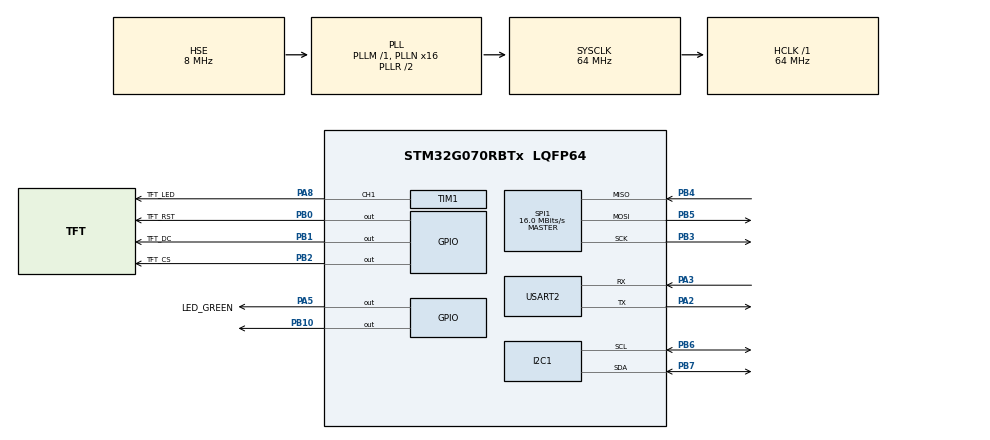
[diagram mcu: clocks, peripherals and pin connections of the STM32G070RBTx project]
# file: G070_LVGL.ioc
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Mcu.Family=STM32G0
PA2.GPIO_PuPd=GPIO_PULLUP
PB10.PinState=GPIO_PIN_SET
VP_SYS_VS_tim6.Mode=TIM6
RCC.CortexFreq_Value=64000000
SPI1.VirtualType=VM_MASTER
PA3.GPIO_PuPd=GPIO_PULLUP
PA14-BOOT0.Mode=Serial_Wire
VP_RTC_VS_RTC_Activate.Mode=RTC_Enabled
PB0.GPIO_Label=TFT_RST
PC15-OSC32_OUT\ (PC15).Mode=LSE-External-Oscillator
PF0-OSC_IN\ (PF0).GPIO_Label=MCO
PA5.PinState=GPIO_PIN_SET
PF0-OSC_IN\ (PF0).Signal=RCC_OSC_IN
RCC.SYSCLKSource=RCC_SYSCLKSOURCE_PLLCLK
ProjectManager.StackSize=0x400
PC14-OSC32_IN\ (PC14).Mode=LSE-External-Oscillator
PB0.PinState=GPIO_PIN_SET
SPI1.Direction=SPI_DIRECTION_2LINES
RCC.HCLKFreq_Value=64000000
PB6.Signal=I2C1_SCL
PB6.Mode=I2C
SPI1.CalculateBaudRate=16.0 MBits/s
RCC.AHBFreq_Value=64000000
PA14-BOOT0.Signal=SYS_SWCLK
RCC.HSE_VALUE=8000000
PB2.Signal=GPIO_Output
PB3.Mode=Full_Duplex_Master
USART2.VirtualMode-Asynchronous=VM_ASYNC
PB4.Mode=Full_Duplex_Master
TIM1.Channel-PWM\ Generation1\ CH1=TIM_CHANNEL_1
PB1.GPIO_Label=TFT_DC
PB5.Mode=Full_Duplex_Master
SPI1.DataSize=SPI_DATASIZE_8BIT
VP_SYS_VS_DBSignals.Mode=DisableDeadBatterySignals
PB7.Signal=I2C1_SDA
PA8.Signal=S_TIM1_CH1
VP_TIM1_VS_ClockSourceINT.Mode=Internal
PB1.PinState=GPIO_PIN_SET
Mcu.Package=LQFP64
PB1.Signal=GPIO_Output
NVIC.TimeBase=TIM6_IRQn
NVIC.TimeBaseIP=TIM6
VP_RTC_VS_RTC_Calendar.Mode=RTC_Calendar
USART2.WordLength=WORDLENGTH_7B
SPI1.BaudRatePrescaler=SPI_BAUDRATEPRESCALER_4
PB4.Signal=SPI1_MISO
PA3.Signal=USART2_RX
RCC.PLLSourceVirtual=RCC_PLLSOURCE_HSE
PA14-BOOT0.GPIO_Label=TCK
PC13.Signal=SYS_WKUP2
RCC.EXTERNAL_CLOCK_VALUE=12288000
PC15-OSC32_OUT\ (PC15).Signal=RCC_OSC32_OUT
NVIC.TIM6_IRQn=true\:0\:0\:false\:false\:true\:false\:true
PF0-OSC_IN\ (PF0).Mode=HSE-External-Clock-Source
PA13.Signal=SYS_SWDIO
PA3.Mode=Asynchronous
PA8.GPIO_Label=TFT_LED
SH.S_TIM1_CH1.0=TIM1_CH1,PWM Generation1 CH1
ProjectManager.TargetToolchain=STM32CubeIDE
I2C1.Timing=0x10707DBC
PB10.Signal=GPIO_Output
PA5.Signal=GPIO_Output
board=NUCLEO-G070RB
RCC.VCOOutputFreq_Value=128000000
SPI1.Mode=SPI_MODE_MASTER
RCC.ADCFreq_Value=64000000
PC13.Mode=SYS_WakeUp1
PA13.Mode=Serial_Wire
Mcu.Name=STM32G070RBTx
PB2.PinState=GPIO_PIN_SET
PA13.GPIO_Label=TMS
PA2.Signal=USART2_TX
PB3.Signal=SPI1_SCK
RCC.SYSCLKFreq_VALUE=64000000
PB5.Signal=SPI1_MOSI
PA5.GPIO_Label=LED_GREEN
PC14-OSC32_IN\ (PC14).Signal=RCC_OSC32_IN
PB7.Mode=I2C
PB2.GPIO_Label=TFT_CS
ProjectManager.HeapSize=0x200
RCC.HSI_VALUE=16000000
PA5.GPIO_Speed=GPIO_SPEED_FREQ_HIGH
RCC.PLLN=16
PA2.Mode=Asynchronous
PB0.Signal=GPIO_Output

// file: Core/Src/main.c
/* USER CODE BEGIN Header */
/**
  ******************************************************************************
  * @file           : main.c
  * @brief          : Main program body
  ******************************************************************************
  * @attention
  *
  * <h2><center>&copy; Copyright (c) 2021 STMicroelectronics.
  * All rights reserved.</center></h2>
  *
  * This software component is licensed by ST under BSD 3-Clause license,
  * the "License"; You may not use this file except in compliance with the
  * License. You may obtain a copy of the License at:
  *                        opensource.org/licenses/BSD-3-Clause
  *
  ******************************************************************************
  */
/* USER CODE END Header */
#include "main.h"
#include "i2c.h"
#include "rtc.h"
#include "spi.h"
#include "tim.h"
#include "usart.h"
#include "gpio.h"

/* USER CODE BEGIN Includes */
#include "ST7735.h"
#include "lvgl.h"
/* USER CODE END Includes */

/* USER CODE BEGIN PTD */
static lv_disp_buf_t disp_buf;
static lv_color_t buf[LV_HOR_RES_MAX * 10];                     /*Declare a buffer for 10 lines*/
uint8_t buf_tft[LV_HOR_RES_MAX*LV_VER_RES_MAX] = {0};
//static lv_color_t buf[LV_HOR_RES_MAX * 10] __attribute__((section(".tftram"))); /* TFT Buffers */
/* USER CODE END PTD */

/* USER CODE BEGIN PM */
void lv_ex_label_1(void);
/* USER CODE END PM */

void SystemClock_Config(void);

int main(void)
{

  /* MCU Configuration--------------------------------------------------------*/

  /* Reset of all peripherals, Initializes the Flash interface and the Systick. */
  HAL_Init();

  /* Configure the system clock */
  SystemClock_Config();

  /* Initialize all configured peripherals */
  MX_GPIO_Init();
  MX_USART2_UART_Init();
  MX_I2C1_Init();
  MX_RTC_Init();
  MX_SPI1_Init();
  MX_TIM1_Init();
  /* USER CODE BEGIN 2 */

  HAL_TIM_PWM_Start(&htim1, TIM_CHANNEL_1);
   __HAL_TIM_SetCompare(&htim1, TIM_CHANNEL_1, 2048);	// PWM_CH1 = 2048 PWM_BRILHO_TFT
   //
   ST7735_Init();
   ST7735_AddrSet(0, 0, LV_HOR_RES_MAX-1, LV_VER_RES_MAX-1);
   ST7735_Clear(0x0000);
   ST7735_Orientation(scr_CCW);
   ST7735_PutStr5x7(40, 10, "Hello world!", RGB565(255,255,255));
   //
   lv_disp_buf_init(&disp_buf, buf, NULL, LV_HOR_RES_MAX * 10);    //Initialize the display buffer
   lv_init();

   lv_disp_drv_t disp_drv;               //Descriptor of a display driver
   lv_disp_drv_init(&disp_drv);          //Basic initialization
   disp_drv.hor_res = LV_HOR_RES_MAX;	//Set the horizontal resolution
   disp_drv.ver_res = LV_VER_RES_MAX;	//Set the vertical resolution
   disp_drv.flush_cb = ST7735_Flush;	//Set your driver function
   disp_drv.buffer = &disp_buf;          //Assign the buffer to teh display
   lv_disp_drv_register(&disp_drv);      //Finally register the driver

   lv_ex_label_1();
   /* USER CODE END 2 */

  /* Infinite loop */
  while (1)
  {

    /* USER CODE BEGIN 3 */
	  // Eventos da GUI LittleVGL
	  lv_task_handler();
  }
  /* USER CODE END 3 */
}

void SystemClock_Config(void)
{
  RCC_OscInitTypeDef RCC_OscInitStruct = {0};
  RCC_ClkInitTypeDef RCC_ClkInitStruct = {0};
  RCC_PeriphCLKInitTypeDef PeriphClkInit = {0};

  /** Configure the main internal regulator output voltage
  */
  HAL_PWREx_ControlVoltageScaling(PWR_REGULATOR_VOLTAGE_SCALE1);
  /** Initializes the RCC Oscillators according to the specified parameters
  * in the RCC_OscInitTypeDef structure.
  */
  RCC_OscInitStruct.OscillatorType = RCC_OSCILLATORTYPE_LSI|RCC_OSCILLATORTYPE_HSE;
  RCC_OscInitStruct.HSEState = RCC_HSE_BYPASS;
  RCC_OscInitStruct.LSIState = RCC_LSI_ON;
  RCC_OscInitStruct.PLL.PLLState = RCC_PLL_ON;
  RCC_OscInitStruct.PLL.PLLSource = RCC_PLLSOURCE_HSE;
  RCC_OscInitStruct.PLL.PLLM = RCC_PLLM_DIV1;
  RCC_OscInitStruct.PLL.PLLN = 16;
  RCC_OscInitStruct.PLL.PLLP = RCC_PLLP_DIV2;
  RCC_OscInitStruct.PLL.PLLR = RCC_PLLR_DIV2;
  if (HAL_RCC_OscConfig(&RCC_OscInitStruct) != HAL_OK)
  {
    Error_Handler();
  }
  /** Initializes the CPU, AHB and APB buses clocks
  */
  RCC_ClkInitStruct.ClockType = RCC_CLOCKTYPE_HCLK|RCC_CLOCKTYPE_SYSCLK
                              |RCC_CLOCKTYPE_PCLK1;
  RCC_ClkInitStruct.SYSCLKSource = RCC_SYSCLKSOURCE_PLLCLK;
  RCC_ClkInitStruct.AHBCLKDivider = RCC_SYSCLK_DIV1;
  RCC_ClkInitStruct.APB1CLKDivider = RCC_HCLK_DIV1;

  if (HAL_RCC_ClockConfig(&RCC_ClkInitStruct, FLASH_LATENCY_2) != HAL_OK)
  {
    Error_Handler();
  }
  /** Initializes the peripherals clocks
  */
  PeriphClkInit.PeriphClockSelection = RCC_PERIPHCLK_RTC|RCC_PERIPHCLK_USART2
                              |RCC_PERIPHCLK_I2C1;
  PeriphClkInit.Usart2ClockSelection = RCC_USART2CLKSOURCE_PCLK1;
  PeriphClkInit.I2c1ClockSelection = RCC_I2C1CLKSOURCE_PCLK1;
  PeriphClkInit.RTCClockSelection = RCC_RTCCLKSOURCE_LSI;

  if (HAL_RCCEx_PeriphCLKConfig(&PeriphClkInit) != HAL_OK)
  {
    Error_Handler();
  }
}

/* USER CODE BEGIN 4 */
void lv_ex_label_1(void)
{
    lv_obj_t * label1 = lv_label_create(lv_scr_act(), NULL);
    lv_label_set_long_mode(label1, LV_LABEL_LONG_BREAK);     /*Break the long lines*/
    lv_label_set_recolor(label1, true);                      /*Enable re-coloring by commands in the text*/
    lv_label_set_align(label1, LV_LABEL_ALIGN_CENTER);       /*Center aligned lines*/
    lv_label_set_text(label1, "#0000ff Re-color# #ff00ff words# #ff0000 of a# label "
                              "and  wrap long text automatically.");
    lv_obj_set_width(label1, 150);
    lv_obj_align(label1, NULL, LV_ALIGN_CENTER, 0, -30);

    lv_obj_t * label2 = lv_label_create(lv_scr_act(), NULL);
    lv_label_set_long_mode(label2, LV_LABEL_LONG_SROLL_CIRC);     /*Circular scroll*/
    lv_obj_set_width(label2, 150);
    lv_label_set_text(label2, "It is a circularly scrolling text. ");
    lv_obj_align(label2, NULL, LV_ALIGN_CENTER, 0, 30);
}
/* USER CODE END 4 */

 /**
  * @brief  Period elapsed callback in non blocking mode
  * @note   This function is called  when TIM6 interrupt took place, inside
  * HAL_TIM_IRQHandler(). It makes a direct call to HAL_IncTick() to increment
  * a global variable "uwTick" used as application time base.
  * @param  htim : TIM handle
  * @retval None
  */
void HAL_TIM_PeriodElapsedCallback(TIM_HandleTypeDef *htim)
{
  if (htim->Instance == TIM6) {
    HAL_IncTick();
  }
  /* USER CODE BEGIN Callback 1 */
  if (htim->Instance == TIM6) {
	  lv_tick_inc(1);
  }
  /* USER CODE END Callback 1 */
}

void Error_Handler(void)
{
  __disable_irq();
  while (1)
  {
  }
}

/************************ (C) COPYRIGHT STMicroelectronics *****END OF FILE****/
